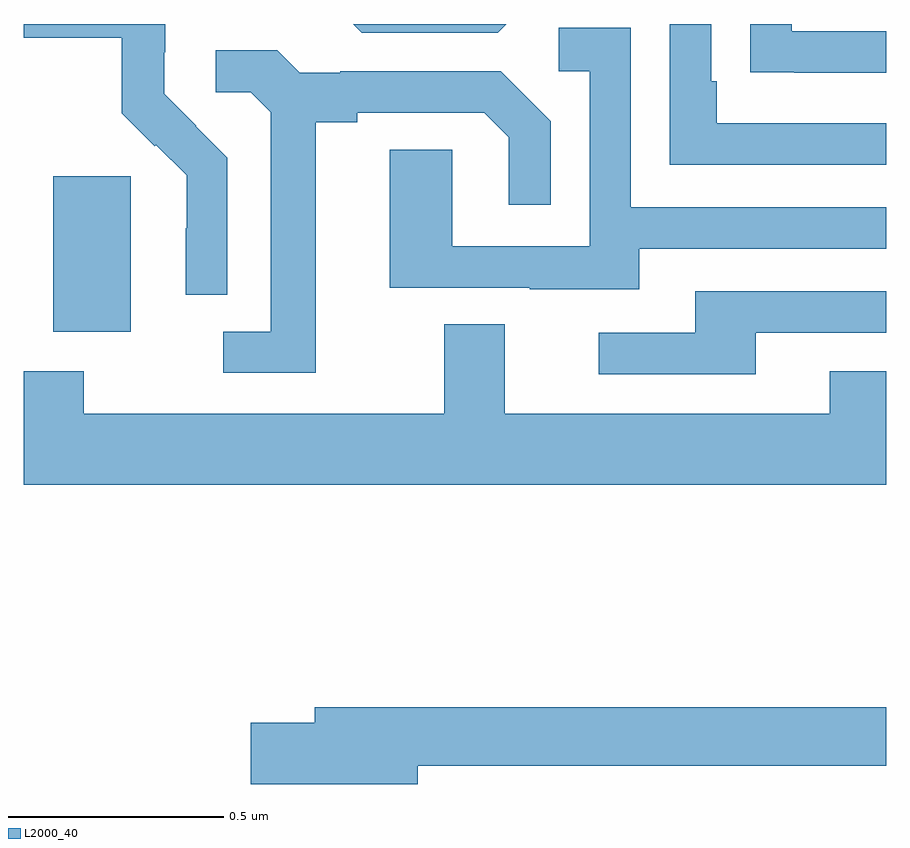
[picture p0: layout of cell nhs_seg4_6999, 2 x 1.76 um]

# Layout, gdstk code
import gdstk
lib = gdstk.Library(unit=1e-6, precision=1e-09)
def R(c, l, rs):  # rectangles x0, y0, x1, y1
    for r in rs: c.add(gdstk.rectangle(r[:2], r[2:], *l))
def P(c, l, *ps):  # polygons
    for p in ps: c.add(gdstk.Polygon(p, *l))
L2000_40 = (2000, 40)

nhs_seg4_6999 = lib.new_cell('nhs_seg4_6999')
R(nhs_seg4_6999, L2000_40, [(197.069,785.186,197.248,785.547)])
P(nhs_seg4_6999, L2000_40, [(199,785.883),(198.781,785.883),(198.781,785.9),(198.685,785.9),(198.685,785.788),(198.787,785.788),(198.787,785.787),(199,785.787)],
  [(197.472,785.59),(197.399,785.663),(197.4,785.664),(197.326,785.738),(197.326,785.835),(197.328,785.835),(197.328,785.9),(197,785.9),(197,785.868),(197.227,785.868),(197.227,785.693),(197.304,785.616),(197.307,785.619),(197.378,785.549),(197.378,785.426),(197.376,785.426),(197.376,785.272),(197.472,785.272)],
  [(198.119,785.9),(197.764,785.9),(197.784,785.88),(198.099,785.88)],
  [(199,785.67),(198.607,785.67),(198.607,785.767),(198.594,785.767),(198.594,785.9),(198.498,785.9),(198.498,785.574),(199,785.574)],
  [(198.427,785.379),(199,785.379),(199,785.475),(198.408,785.475),(198.408,785.891),(198.24,785.891),(198.24,785.79),(198.312,785.79),(198.312,785.385),(197.994,785.385),(197.994,785.609),(197.849,785.609),(197.849,785.289),(198.173,785.289),(198.173,785.285),(198.427,785.285)],
  [(197.677,785.672),(197.773,785.672),(197.773,785.694),(198.068,785.694),(198.125,785.637),(198.125,785.481),(198.222,785.481),(198.222,785.674),(198.106,785.79),(197.734,785.79),(197.734,785.787),(197.64,785.787),(197.588,785.839),(197.445,785.839),(197.445,785.742),(197.526,785.742),(197.573,785.695),(197.573,785.187),(197.463,785.187),(197.463,785.091),(197.677,785.091)],
  [(198.697,785.184),(199,785.184),(199,785.28),(198.557,785.28),(198.557,785.184),(198.333,785.184),(198.333,785.088),(198.697,785.088)],
  [(199,785.095),(198.869,785.095),(198.869,784.996),(198.115,784.996),(198.115,785.204),(197.975,785.204),(197.975,784.996),(197.139,784.996),(197.139,785.095),(197,785.095),(197,784.832),(199,784.832)],
  [(197.914,784.18),(199,784.18),(199,784.316),(197.675,784.316),(197.675,784.28),(197.526,784.28),(197.526,784.138),(197.914,784.138)])

lib.write_gds('nhs_seg4_6999.gds')
